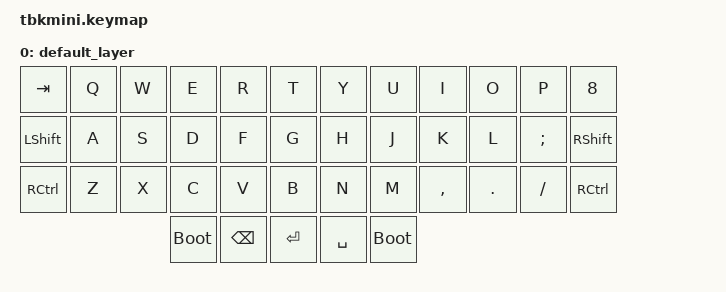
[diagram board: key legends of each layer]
/*
 * Copyright (c) 2024 burkfers
 *
 * SPDX-License-Identifier: MIT
 */

#include <behaviors.dtsi>
#include <dt-bindings/zmk/keys.h>

/ {
    keymap {
        compatible = "zmk,keymap";

        default_layer {
            bindings = <
// ╭─────────────┬─────────────┬─────────────┬─────────────┬─────────────┬─────────────╮   ╭─────────────┬─────────────┬─────────────┬─────────────┬─────────────┬─────────────╮
     &kp TAB       &kp Q         &kp W         &kp E         &kp R         &kp T             &kp Y         &kp U         &kp I         &kp O         &kp P         &kp N8
// ├─────────────┼─────────────┼─────────────┼─────────────┼─────────────┼─────────────┤   ├─────────────┼─────────────┼─────────────┼─────────────┼─────────────┼─────────────┤
     &kp LSHIFT    &kp A         &kp S         &kp D         &kp F         &kp G             &kp H         &kp J         &kp K         &kp L         &kp SEMI      &kp RSHIFT
// ├─────────────┼─────────────┼─────────────┼─────────────┼─────────────┼─────────────┤   ├─────────────┼─────────────┼─────────────┼─────────────┼─────────────┼─────────────┤
     &kp RCTRL     &kp Z         &kp X         &kp C         &kp V         &kp B             &kp N         &kp M         &kp COMMA     &kp DOT       &kp SLASH     &kp RCTRL
// ╰─────────────┼─────────────┼─────────────┼─────────────┼─────────────┼─────────────┤   ├─────────────┼─────────────┼─────────────┼─────────────┼─────────────┼─────────────╯
                                               &bootloader   &kp BACKSPACE &kp RET           &kp SPACE     &bootloader
//                                           ╰─────────────┴─────────────┴─────────────╯   ╰─────────────┴─────────────╯
            >;
        };
    };
};
